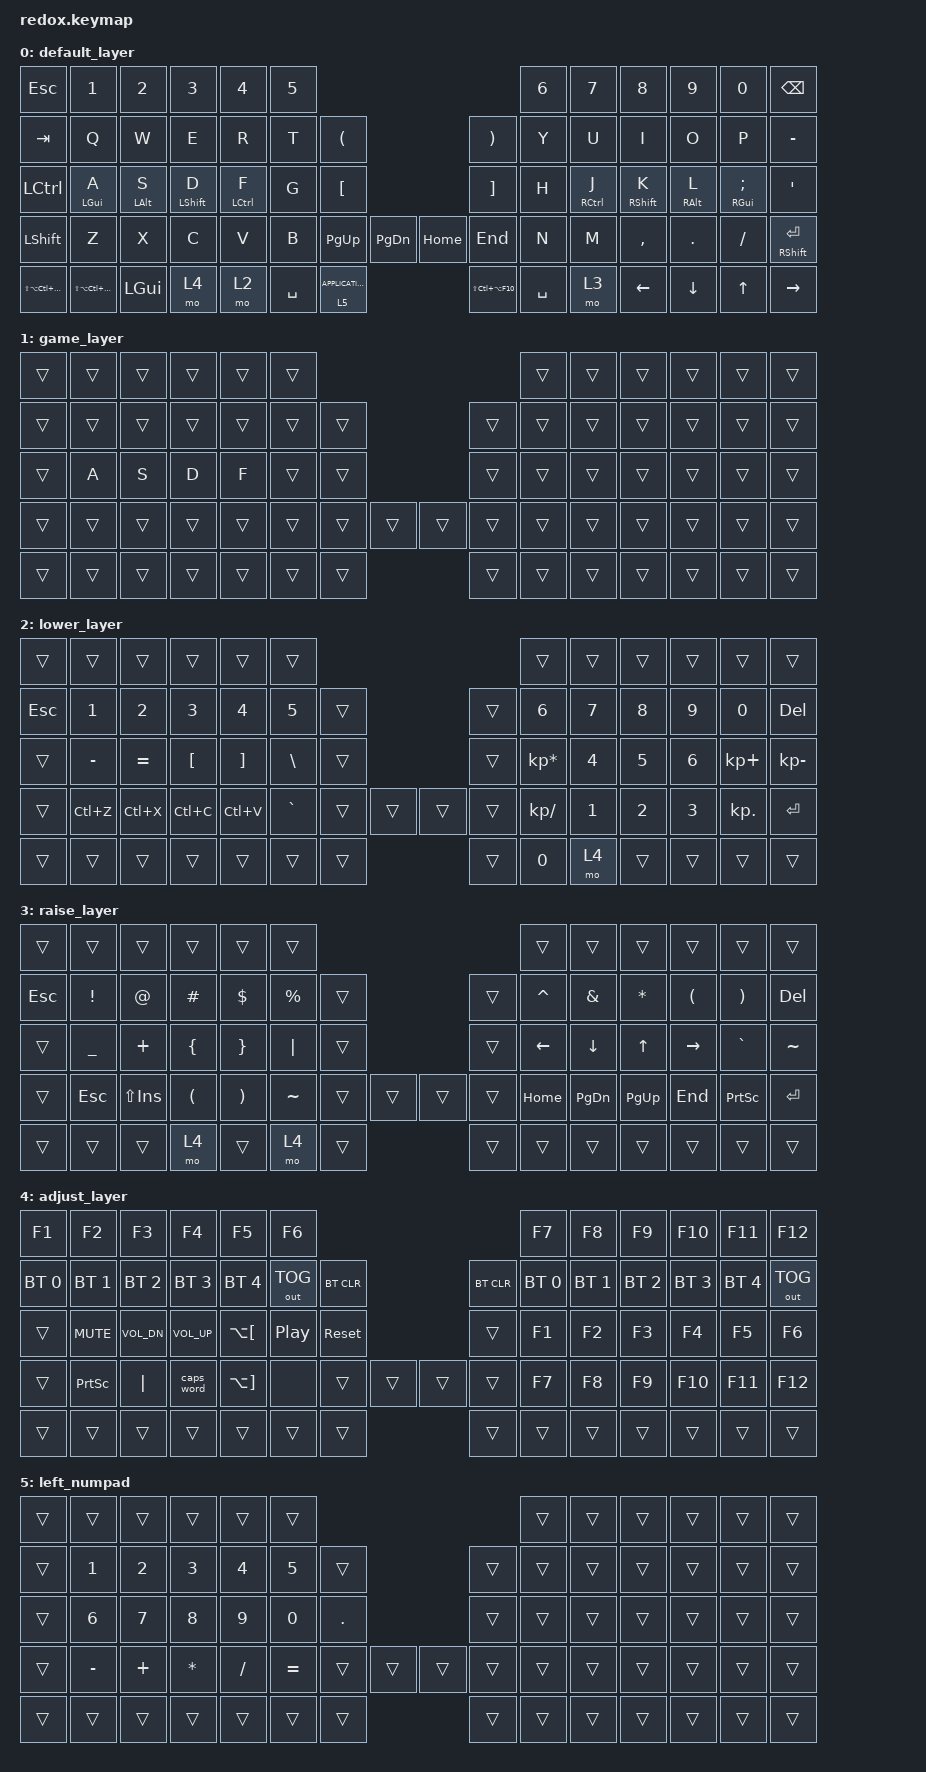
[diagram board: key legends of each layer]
/*
 * Copyright (c) 2021 The ZMK Contributors
 *
 * SPDX-License-Identifier: MIT
 */

#include <behaviors.dtsi>
#include <dt-bindings/zmk/bt.h>
#include <dt-bindings/zmk/keys.h>
#include <dt-bindings/zmk/outputs.h>

/ {
    behaviors {
        bhm: balanced_homerow_mods {
            compatible = "zmk,behavior-hold-tap";
            label = "HOMEROW_MODS";
            #binding-cells = <2>;
            tapping-term-ms = <200>;// <---[[moderate duration]]
            quick-tap-ms = <0>;
            flavor = "balanced";
            bindings = <&kp>, <&kp>;
        };
    };

    combos {
        compatible = "zmk,combos";

        lbackspace {
            bindings = <&kp BACKSPACE>;
            key-positions = <15 14>;
            layers = <0 5>;
        };

        lenter {
            bindings = <&kp RET>;
            key-positions = <43 42>;
            layers = <0 1 5>;
        };

        renter {
            bindings = <&kp RET>;
            key-positions = <52 53>;
            layers = <0 1>;
        };

        rbackspace {
            bindings = <&kp BACKSPACE>;
            key-positions = <22 23>;
            layers = <0 1>;
        };

        toggle_game_layer {
            bindings = <&tog 1>;
            key-positions = <18 19>;
        };
    };

    keymap {
        compatible = "zmk,keymap";

        default_layer {
            bindings = <
&kp ESC                  &kp N1                   &kp N2       &kp N3        &kp N4        &kp N5                                                                  &kp N6         &kp N7        &kp N8        &kp N9       &kp N0          &kp BSPC
&kp TAB                  &kp Q                    &kp W        &kp E         &kp R         &kp T   &kp LPAR                                             &kp RPAR   &kp Y          &kp U         &kp I         &kp O        &kp P           &kp MINUS
&kp LCTRL                &bhm LGUI A              &bhm LALT S  &bhm LSHFT D  &bhm LCTRL F  &kp G   &kp LBKT                                             &kp RBKT   &kp H          &bhm RCTRL J  &bhm RSHFT K  &bhm RALT L  &bhm RGUI SEMI  &kp SQT
&kp LSHFT                &kp Z                    &kp X        &kp C         &kp V         &kp B   &kp PG_UP  &kp PG_DN            &kp HOME             &kp END    &kp N          &kp M         &kp COMMA     &kp DOT      &kp FSLH        &mt RSHFT RET
&kp LS(LA(LC(LG(F11))))  &kp LS(LA(LC(LG(F12))))  &kp LGUI     &mo 4                       &mo 2   &kp SPACE  &lt 5 K_APPLICATION  &kp LS(LC(LA(F10)))  &kp SPACE          &mo 3                &kp LEFT      &kp DOWN     &kp UP          &kp RIGHT
            >;
        };

        game_layer {
            bindings = <
&trans  &trans  &trans  &trans  &trans  &trans                                  &trans          &trans  &trans  &trans  &trans  &trans
&trans  &trans  &trans  &trans  &trans  &trans  &trans                  &trans  &trans          &trans  &trans  &trans  &trans  &trans
&trans  &kp A   &kp S   &kp D   &kp F   &trans  &trans                  &trans  &trans          &trans  &trans  &trans  &trans  &trans
&trans  &trans  &trans  &trans  &trans  &trans  &trans  &trans  &trans  &trans  &trans          &trans  &trans  &trans  &trans  &trans
&trans  &trans  &trans  &trans          &trans  &trans  &trans  &trans  &trans          &trans          &trans  &trans  &trans  &trans
            >;
        };

        lower_layer {
            bindings = <
&trans   &trans     &trans     &trans     &trans     &trans                                     &trans                  &trans  &trans  &trans  &trans       &trans
&kp ESC  &kp N1     &kp N2     &kp N3     &kp N4     &kp N5     &trans                  &trans  &kp N6                  &kp N7  &kp N8  &kp N9  &kp N0       &kp DEL
&trans   &kp MINUS  &kp EQUAL  &kp LBKT   &kp RBKT   &kp BSLH   &trans                  &trans  &kp KP_MULTIPLY         &kp N4  &kp N5  &kp N6  &kp KP_PLUS  &kp KP_MINUS
&trans   &kp LC(Z)  &kp LC(X)  &kp LC(C)  &kp LC(V)  &kp GRAVE  &trans  &trans  &trans  &trans  &kp KP_DIVIDE           &kp N1  &kp N2  &kp N3  &kp KP_DOT   &kp RET
&trans   &trans     &trans     &trans                &trans     &trans  &trans  &trans  &kp N0                   &mo 4          &trans  &trans  &trans       &trans
            >;
        };

        raise_layer {
            bindings = <
&trans   &trans     &trans          &trans    &trans    &trans                                     &trans                  &trans          &trans     &trans     &trans           &trans
&kp ESC  &kp EXCL   &kp AT          &kp HASH  &kp DLLR  &kp PRCNT  &trans                  &trans  &kp CARET               &kp AMPS        &kp ASTRK  &kp LPAR   &kp RPAR         &kp DEL
&trans   &kp UNDER  &kp PLUS        &kp LBRC  &kp RBRC  &kp PIPE   &trans                  &trans  &kp LEFT_ARROW          &kp DOWN_ARROW  &kp UP     &kp RIGHT  &kp GRAVE        &kp TILDE
&trans   &kp ESC    &kp LS(INSERT)  &kp LPAR  &kp RPAR  &kp TILDE  &trans  &trans  &trans  &trans  &kp HOME                &kp PG_DN       &kp PG_UP  &kp END    &kp PRINTSCREEN  &kp RET
&trans   &trans     &trans          &mo 4               &trans     &mo 4   &trans  &trans  &trans                  &trans                  &trans     &trans     &trans           &trans
            >;
        };

        adjust_layer {
            bindings = <
&kp F1        &kp F2        &kp F3        &kp F4        &kp F5                 &kp F6                                                    &kp F7                &kp F8        &kp F9        &kp F10       &kp F11       &kp F12
&bt BT_SEL 0  &bt BT_SEL 1  &bt BT_SEL 2  &bt BT_SEL 3  &bt BT_SEL 4           &out OUT_TOG      &bt BT_CLR                  &bt BT_CLR  &bt BT_SEL 0          &bt BT_SEL 1  &bt BT_SEL 2  &bt BT_SEL 3  &bt BT_SEL 4  &out OUT_TOG
&trans        &kp K_MUTE    &kp C_VOL_DN  &kp C_VOL_UP  &kp LA(LEFT_BRACKET)   &kp C_PLAY_PAUSE  &sys_reset                  &trans      &kp F1                &kp F2        &kp F3        &kp F4        &kp F5        &kp F6
&trans        &kp PSCRN     &kp PIPE      &caps_word    &kp LA(RIGHT_BRACKET)  &none             &trans      &trans  &trans  &trans      &kp F7                &kp F8        &kp F9        &kp F10       &kp F11       &kp F12
&trans        &trans        &trans        &trans                               &trans            &trans      &trans  &trans  &trans                    &trans                &trans        &trans        &trans        &trans
            >;
        };

        left_numpad {
            bindings = <
&trans  &trans     &trans    &trans    &trans    &trans                                         &trans          &trans  &trans  &trans  &trans  &trans
&trans  &kp N1     &kp N2    &kp N3    &kp N4    &kp N5     &trans                      &trans  &trans          &trans  &trans  &trans  &trans  &trans
&trans  &kp N6     &kp N7    &kp N8    &kp N9    &kp N0     &kp PERIOD                  &trans  &trans          &trans  &trans  &trans  &trans  &trans
&trans  &kp MINUS  &kp PLUS  &kp STAR  &kp FSLH  &kp EQUAL  &trans      &trans  &trans  &trans  &trans          &trans  &trans  &trans  &trans  &trans
&trans  &trans     &trans    &trans              &trans     &trans      &trans  &trans  &trans          &trans          &trans  &trans  &trans  &trans
            >;
        };
    };
};
